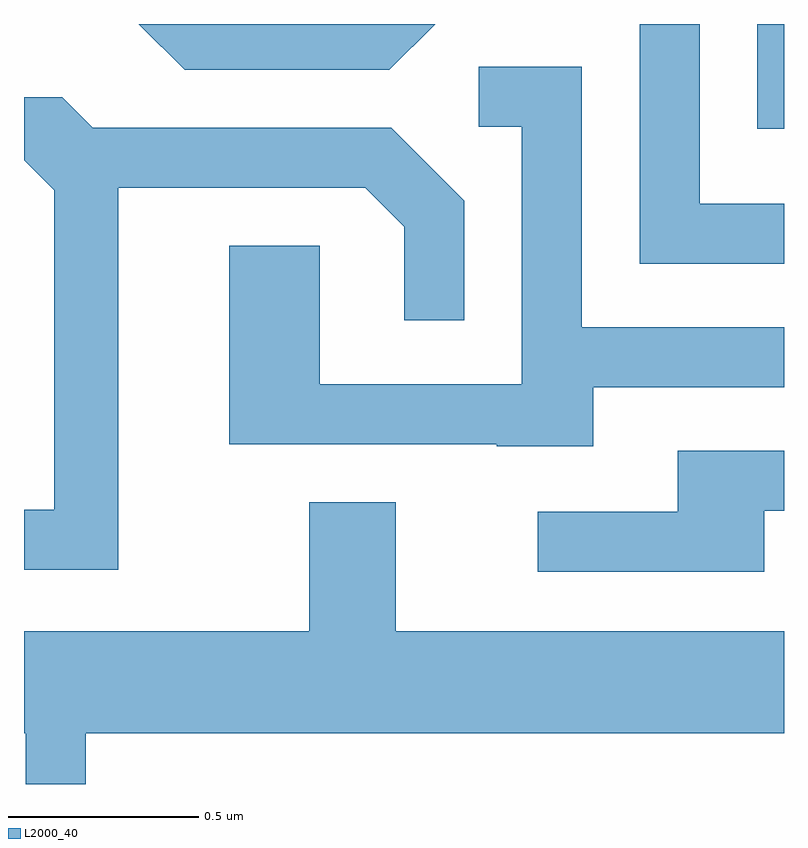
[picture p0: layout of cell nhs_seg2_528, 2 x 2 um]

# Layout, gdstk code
import gdstk
lib = gdstk.Library(unit=1e-6, precision=1e-09)
def R(c, l, rs):  # rectangles x0, y0, x1, y1
    for r in rs: c.add(gdstk.rectangle(r[:2], r[2:], *l))
def P(c, l, *ps):  # polygons
    for p in ps: c.add(gdstk.Polygon(p, *l))
L2000_40 = (2000, 40)

nhs_seg2_528 = lib.new_cell('nhs_seg2_528')
R(nhs_seg2_528, L2000_40, [(190.541,1096.526,190.611,1096.802)])
P(nhs_seg2_528, L2000_40, [(189.693,1096.802),(188.913,1096.802),(189.034,1096.681),(189.572,1096.681)],
  [(190.611,1096.329),(190.389,1096.329),(190.389,1096.802),(190.231,1096.802),(190.231,1096.171),(190.611,1096.171)],
  [(190.109,1095.846),(190.611,1095.846),(190.611,1096.004),(190.079,1096.004),(190.079,1096.689),(189.808,1096.689),(189.808,1096.531),(189.921,1096.531),(189.921,1095.854),(189.389,1095.854),(189.389,1096.219),(189.151,1096.219),(189.151,1095.696),(189.855,1095.696),(189.855,1095.691),(190.109,1095.691)],
  [(188.859,1096.371),(189.509,1096.371),(189.611,1096.269),(189.611,1096.023),(189.769,1096.023),(189.769,1096.337),(189.577,1096.529),(188.792,1096.529),(188.712,1096.609),(188.611,1096.609),(188.611,1096.444),(188.691,1096.364),(188.691,1095.524),(188.611,1095.524),(188.611,1095.366),(188.859,1095.366)],
  [(190.559,1095.521),(190.611,1095.521),(190.611,1095.679),(190.331,1095.679),(190.331,1095.519),(189.963,1095.519),(189.963,1095.361),(190.559,1095.361)],
  [(188.774,1094.936),(190.611,1094.936),(190.611,1095.204),(189.589,1095.204),(189.589,1095.544),(189.361,1095.544),(189.361,1095.204),(188.611,1095.204),(188.611,1094.936),(188.616,1094.936),(188.616,1094.802),(188.774,1094.802)])

lib.write_gds('nhs_seg2_528.gds')
